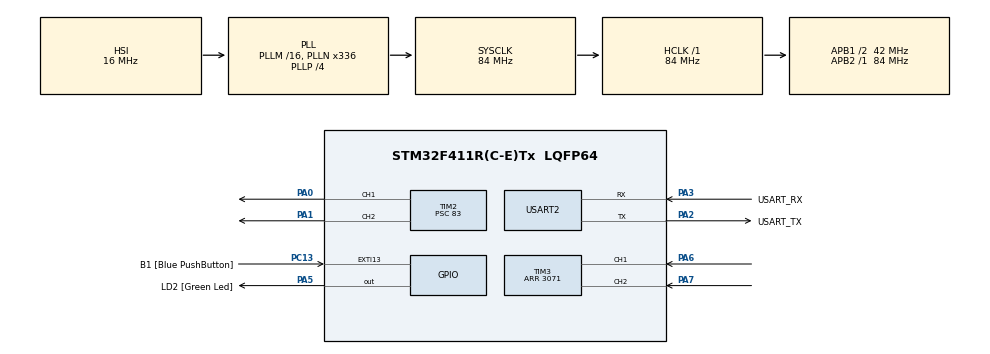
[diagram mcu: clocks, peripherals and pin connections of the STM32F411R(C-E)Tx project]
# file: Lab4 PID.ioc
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ARM.CMSIS.5.6.0.CMSISJjCORE=true
ARM.CMSIS.5.6.0.CMSISJjDSP=Library
Mcu.Family=STM32F4
Mcu.Name=STM32F411R(C-E)Tx
Mcu.Package=LQFP64
Mcu.UserConstants=QEI_Period,30720
NVIC.PriorityGroup=NVIC_PRIORITYGROUP_0
PA0-WKUP.Signal=S_TIM2_CH1_ETR
PA1.Signal=S_TIM2_CH2
PA13.GPIO_Label=TMS
PA13.Mode=Trace_Asynchronous_SW
PA13.Signal=SYS_JTMS-SWDIO
PA14.GPIO_Label=TCK
PA14.Mode=Trace_Asynchronous_SW
PA14.Signal=SYS_JTCK-SWCLK
PA2.GPIO_Label=USART_TX
PA2.Mode=Asynchronous
PA2.Signal=USART2_TX
PA3.GPIO_Label=USART_RX
PA3.Mode=Asynchronous
PA3.Signal=USART2_RX
PA5.GPIO_Label=LD2 [Green Led]
PA5.Signal=GPIO_Output
PA6.Signal=S_TIM3_CH1
PA7.Signal=S_TIM3_CH2
PB3.GPIO_Label=SWO
PB3.Mode=Trace_Asynchronous_SW
PB3.Signal=SYS_JTDO-SWO
PC13-ANTI_TAMP.GPIO_Label=B1 [Blue PushButton]
PC13-ANTI_TAMP.GPIO_ModeDefaultEXTI=GPIO_MODE_IT_FALLING
PC13-ANTI_TAMP.Signal=GPXTI13
PC14-OSC32_IN.Mode=LSE-External-Oscillator
PC14-OSC32_IN.Signal=RCC_OSC32_IN
PC15-OSC32_OUT.Mode=LSE-External-Oscillator
PC15-OSC32_OUT.Signal=RCC_OSC32_OUT
PH0\ -\ OSC_IN.Mode=HSE-External-Clock-Source
PH0\ -\ OSC_IN.Signal=RCC_OSC_IN
PH1\ -\ OSC_OUT.Mode=HSE-External-Clock-Source
PH1\ -\ OSC_OUT.Signal=RCC_OSC_OUT
ProjectManager.HeapSize=0x200
ProjectManager.StackSize=0x400
ProjectManager.TargetToolchain=STM32CubeIDE
RCC.48MHZClocksFreq_Value=84000000
RCC.AHBFreq_Value=84000000
RCC.APB1CLKDivider=RCC_HCLK_DIV2
RCC.APB1Freq_Value=42000000
RCC.APB1TimFreq_Value=84000000
RCC.APB2Freq_Value=84000000
RCC.APB2TimFreq_Value=84000000
RCC.CortexFreq_Value=84000000
RCC.FLatency-AdvancedSettings=FLASH_LATENCY_2
RCC.HCLKFreq_Value=84000000
RCC.HSE_VALUE=8000000
RCC.HSI_VALUE=16000000
RCC.PLLN=336
RCC.PLLP=RCC_PLLP_DIV4
RCC.SYSCLKFreq_VALUE=84000000
RCC.SYSCLKSource=RCC_SYSCLKSOURCE_PLLCLK
RCC.VCOOutputFreq_Value=336000000
SH.S_TIM2_CH1_ETR.0=TIM2_CH1,PWM Generation1 CH1
SH.S_TIM2_CH2.0=TIM2_CH2,PWM Generation2 CH2
SH.S_TIM3_CH1.0=TIM3_CH1,Encoder_Interface
SH.S_TIM3_CH2.0=TIM3_CH2,Encoder_Interface
TIM2.Channel-PWM\ Generation1\ CH1=TIM_CHANNEL_1
TIM2.Channel-PWM\ Generation2\ CH2=TIM_CHANNEL_2
TIM2.Period=999
TIM2.Prescaler=83
TIM2.Pulse-PWM\ Generation1\ CH1=0
TIM3.EncoderMode=TIM_ENCODERMODE_TI12
TIM3.Period=3071
USART2.VirtualMode=VM_ASYNC
VP_ARM.CMSIS_VS_CMSISJjCORE_5.3.0_5.6.0.Mode=CMSISJjCORE
VP_ARM.CMSIS_VS_CMSISJjDSP_1.7.0_5.6.0.Mode=CMSISJjDSP
VP_TIM2_VS_ClockSourceINT.Mode=Internal
board=NUCLEO-F411RE

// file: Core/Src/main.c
/* USER CODE BEGIN Header */
/**
  ******************************************************************************
  * @file           : main.c
  * @brief          : Main program body
  ******************************************************************************
  * @attention
  *
  * Copyright (c) 2023 STMicroelectronics.
  * All rights reserved.
  *
  * This software is licensed under terms that can be found in the LICENSE file
  * in the root directory of this software component.
  * If no LICENSE file comes with this software, it is provided AS-IS.
  *
  ******************************************************************************
  */
/* USER CODE END Header */
#include "main.h"

/* USER CODE BEGIN Includes */
#include "arm_math.h"
/* USER CODE END Includes */

TIM_HandleTypeDef htim2;
TIM_HandleTypeDef htim3;

UART_HandleTypeDef huart2;

/* USER CODE BEGIN PV */
float QEIReadRaw;
float Pulsedegree = 0;
float Pulsesetdegree = 0;
float PrePulsedegree = 0;
float NowPulsedegree = 0;
int x = 0;

arm_pid_instance_f32 PID = {0};
float degree = 0;
float setdegree = 0;
float Setdegree = 0;
float Vfeedback = 0;
float Error = 0;
float PastError = 0;

float duty = 0;
/* USER CODE END PV */

void SystemClock_Config(void);
static void MX_GPIO_Init(void);
static void MX_USART2_UART_Init(void);
static void MX_TIM3_Init(void);
static void MX_TIM2_Init(void);

int main(void)
{

  /* MCU Configuration--------------------------------------------------------*/

  /* Reset of all peripherals, Initializes the Flash interface and the Systick. */
  HAL_Init();

  /* Configure the system clock */
  SystemClock_Config();

  /* Initialize all configured peripherals */
  MX_GPIO_Init();
  MX_USART2_UART_Init();
  MX_TIM3_Init();
  MX_TIM2_Init();
  /* USER CODE BEGIN 2 */
  HAL_TIM_Encoder_Start(&htim3, TIM_CHANNEL_1|TIM_CHANNEL_2);
  HAL_TIM_Base_Start(&htim2);
  HAL_TIM_PWM_Start(&htim2, TIM_CHANNEL_1);
  HAL_TIM_PWM_Start(&htim2, TIM_CHANNEL_2);

  PID.Kp = 1;
  PID.Ki = 0;
  PID.Kd = 1.45;
  arm_pid_init_f32(&PID, 0);

  /* USER CODE END 2 */

  /* Infinite loop */
  while (1)
  {

    /* USER CODE BEGIN 3 */
	  static uint32_t timestamp = 0;
	  if(HAL_GetTick() > timestamp)
	  {
		  timestamp = HAL_GetTick()+10;
		  NowPulsedegree = __HAL_TIM_GET_COUNTER(&htim3);
		  if(((1000 >= NowPulsedegree) && (NowPulsedegree >= 0)) && ((2500 <= PrePulsedegree) && (PrePulsedegree <= 3072)))
		  {
			  x += 1;
		  }
		  else if(((2500 <= NowPulsedegree) && (NowPulsedegree <= 3072)) && ((0 <= PrePulsedegree) && (PrePulsedegree <= 1000)))
		  {
			  x -= 1;
		  }
		  Pulsedegree = (x * 3072) + NowPulsedegree;
		  PrePulsedegree = NowPulsedegree;

		  if(setdegree <= 0)Setdegree = 0;
		  else if(setdegree >= 36000)Setdegree = 36000;
		  else Setdegree = setdegree;

		  Pulsesetdegree = Setdegree*(3072/360.0);
		  degree = Pulsedegree*(360/3072.0);
		  Vfeedback = arm_pid_f32(&PID, Pulsesetdegree - Pulsedegree);

		  Error = Pulsesetdegree - Pulsedegree;
		  if((Error > 0) && (Error <= (3072/360)/2.0))
		  {
			  Vfeedback = 0;
		  }
		  else if((Error < 0) && ((-1)*Error <= (3072/360)/2.0))
		  {
			  Vfeedback = 0;
		  }

		  if(Vfeedback == 0){
			  duty = 0;
			  __HAL_TIM_SET_COMPARE(&htim2, TIM_CHANNEL_1, 0);
			  __HAL_TIM_SET_COMPARE(&htim2, TIM_CHANNEL_2, 0);
		  }
		  else if((150 < Vfeedback) && (Vfeedback < 1000)){
			  duty = Vfeedback;
			  __HAL_TIM_SET_COMPARE(&htim2, TIM_CHANNEL_1, Vfeedback);
			  __HAL_TIM_SET_COMPARE(&htim2, TIM_CHANNEL_2, 0);
		  }
		  else if(Vfeedback >= 1000){
			  duty = 1000;
			  __HAL_TIM_SET_COMPARE(&htim2, TIM_CHANNEL_1, 1000);
			  __HAL_TIM_SET_COMPARE(&htim2, TIM_CHANNEL_2, 0);
		  }
		  else if((0 < Vfeedback) && (Vfeedback <= 150)){
			  duty = 100;
			  __HAL_TIM_SET_COMPARE(&htim2, TIM_CHANNEL_1, 150);
  			  __HAL_TIM_SET_COMPARE(&htim2, TIM_CHANNEL_2, 0);
		  }
		  else if((-1000 < Vfeedback) && (Vfeedback < -150)){
			  duty = Vfeedback;
			  __HAL_TIM_SET_COMPARE(&htim2, TIM_CHANNEL_1, 0);
			  __HAL_TIM_SET_COMPARE(&htim2, TIM_CHANNEL_2, (-1)*(Vfeedback));
		  }
		  else if(Vfeedback <= -1000){
			  duty = 1000;
			  __HAL_TIM_SET_COMPARE(&htim2, TIM_CHANNEL_1, 0);
			  __HAL_TIM_SET_COMPARE(&htim2, TIM_CHANNEL_2, 1000);
		  }
		  else if((0 > Vfeedback) && (Vfeedback >= -150)){
			  duty = 100;
			  __HAL_TIM_SET_COMPARE(&htim2, TIM_CHANNEL_1, 0);
			  __HAL_TIM_SET_COMPARE(&htim2, TIM_CHANNEL_2, 150);
		  }
	  }
  }
  /* USER CODE END 3 */
}

void SystemClock_Config(void)
{
  RCC_OscInitTypeDef RCC_OscInitStruct = {0};
  RCC_ClkInitTypeDef RCC_ClkInitStruct = {0};

  /** Configure the main internal regulator output voltage
  */
  __HAL_RCC_PWR_CLK_ENABLE();
  __HAL_PWR_VOLTAGESCALING_CONFIG(PWR_REGULATOR_VOLTAGE_SCALE1);

  /** Initializes the RCC Oscillators according to the specified parameters
  * in the RCC_OscInitTypeDef structure.
  */
  RCC_OscInitStruct.OscillatorType = RCC_OSCILLATORTYPE_HSI;
  RCC_OscInitStruct.HSIState = RCC_HSI_ON;
  RCC_OscInitStruct.HSICalibrationValue = RCC_HSICALIBRATION_DEFAULT;
  RCC_OscInitStruct.PLL.PLLState = RCC_PLL_ON;
  RCC_OscInitStruct.PLL.PLLSource = RCC_PLLSOURCE_HSI;
  RCC_OscInitStruct.PLL.PLLM = 16;
  RCC_OscInitStruct.PLL.PLLN = 336;
  RCC_OscInitStruct.PLL.PLLP = RCC_PLLP_DIV4;
  RCC_OscInitStruct.PLL.PLLQ = 4;
  if (HAL_RCC_OscConfig(&RCC_OscInitStruct) != HAL_OK)
  {
    Error_Handler();
  }

  /** Initializes the CPU, AHB and APB buses clocks
  */
  RCC_ClkInitStruct.ClockType = RCC_CLOCKTYPE_HCLK|RCC_CLOCKTYPE_SYSCLK
                              |RCC_CLOCKTYPE_PCLK1|RCC_CLOCKTYPE_PCLK2;
  RCC_ClkInitStruct.SYSCLKSource = RCC_SYSCLKSOURCE_PLLCLK;
  RCC_ClkInitStruct.AHBCLKDivider = RCC_SYSCLK_DIV1;
  RCC_ClkInitStruct.APB1CLKDivider = RCC_HCLK_DIV2;
  RCC_ClkInitStruct.APB2CLKDivider = RCC_HCLK_DIV1;

  if (HAL_RCC_ClockConfig(&RCC_ClkInitStruct, FLASH_LATENCY_2) != HAL_OK)
  {
    Error_Handler();
  }
}

static void MX_TIM2_Init(void)
{

  TIM_ClockConfigTypeDef sClockSourceConfig = {0};
  TIM_MasterConfigTypeDef sMasterConfig = {0};
  TIM_OC_InitTypeDef sConfigOC = {0};

  htim2.Instance = TIM2;
  htim2.Init.Prescaler = 83;
  htim2.Init.CounterMode = TIM_COUNTERMODE_UP;
  htim2.Init.Period = 999;
  htim2.Init.ClockDivision = TIM_CLOCKDIVISION_DIV1;
  htim2.Init.AutoReloadPreload = TIM_AUTORELOAD_PRELOAD_DISABLE;
  if (HAL_TIM_Base_Init(&htim2) != HAL_OK)
  {
    Error_Handler();
  }
  sClockSourceConfig.ClockSource = TIM_CLOCKSOURCE_INTERNAL;
  if (HAL_TIM_ConfigClockSource(&htim2, &sClockSourceConfig) != HAL_OK)
  {
    Error_Handler();
  }
  if (HAL_TIM_PWM_Init(&htim2) != HAL_OK)
  {
    Error_Handler();
  }
  sMasterConfig.MasterOutputTrigger = TIM_TRGO_RESET;
  sMasterConfig.MasterSlaveMode = TIM_MASTERSLAVEMODE_DISABLE;
  if (HAL_TIMEx_MasterConfigSynchronization(&htim2, &sMasterConfig) != HAL_OK)
  {
    Error_Handler();
  }
  sConfigOC.OCMode = TIM_OCMODE_PWM1;
  sConfigOC.Pulse = 0;
  sConfigOC.OCPolarity = TIM_OCPOLARITY_HIGH;
  sConfigOC.OCFastMode = TIM_OCFAST_DISABLE;
  if (HAL_TIM_PWM_ConfigChannel(&htim2, &sConfigOC, TIM_CHANNEL_1) != HAL_OK)
  {
    Error_Handler();
  }
  if (HAL_TIM_PWM_ConfigChannel(&htim2, &sConfigOC, TIM_CHANNEL_2) != HAL_OK)
  {
    Error_Handler();
  }
  HAL_TIM_MspPostInit(&htim2);

}

static void MX_TIM3_Init(void)
{

  TIM_Encoder_InitTypeDef sConfig = {0};
  TIM_MasterConfigTypeDef sMasterConfig = {0};

  htim3.Instance = TIM3;
  htim3.Init.Prescaler = 0;
  htim3.Init.CounterMode = TIM_COUNTERMODE_UP;
  htim3.Init.Period = 3071;
  htim3.Init.ClockDivision = TIM_CLOCKDIVISION_DIV1;
  htim3.Init.AutoReloadPreload = TIM_AUTORELOAD_PRELOAD_DISABLE;
  sConfig.EncoderMode = TIM_ENCODERMODE_TI12;
  sConfig.IC1Polarity = TIM_ICPOLARITY_RISING;
  sConfig.IC1Selection = TIM_ICSELECTION_DIRECTTI;
  sConfig.IC1Prescaler = TIM_ICPSC_DIV1;
  sConfig.IC1Filter = 0;
  sConfig.IC2Polarity = TIM_ICPOLARITY_RISING;
  sConfig.IC2Selection = TIM_ICSELECTION_DIRECTTI;
  sConfig.IC2Prescaler = TIM_ICPSC_DIV1;
  sConfig.IC2Filter = 0;
  if (HAL_TIM_Encoder_Init(&htim3, &sConfig) != HAL_OK)
  {
    Error_Handler();
  }
  sMasterConfig.MasterOutputTrigger = TIM_TRGO_RESET;
  sMasterConfig.MasterSlaveMode = TIM_MASTERSLAVEMODE_DISABLE;
  if (HAL_TIMEx_MasterConfigSynchronization(&htim3, &sMasterConfig) != HAL_OK)
  {
    Error_Handler();
  }

}

static void MX_USART2_UART_Init(void)
{

  huart2.Instance = USART2;
  huart2.Init.BaudRate = 115200;
  huart2.Init.WordLength = UART_WORDLENGTH_8B;
  huart2.Init.StopBits = UART_STOPBITS_1;
  huart2.Init.Parity = UART_PARITY_NONE;
  huart2.Init.Mode = UART_MODE_TX_RX;
  huart2.Init.HwFlowCtl = UART_HWCONTROL_NONE;
  huart2.Init.OverSampling = UART_OVERSAMPLING_16;
  if (HAL_UART_Init(&huart2) != HAL_OK)
  {
    Error_Handler();
  }

}

static void MX_GPIO_Init(void)
{
  GPIO_InitTypeDef GPIO_InitStruct = {0};

  /* GPIO Ports Clock Enable */
  __HAL_RCC_GPIOC_CLK_ENABLE();
  __HAL_RCC_GPIOH_CLK_ENABLE();
  __HAL_RCC_GPIOA_CLK_ENABLE();
  __HAL_RCC_GPIOB_CLK_ENABLE();

  /*Configure GPIO pin Output Level */
  HAL_GPIO_WritePin(LD2_GPIO_Port, LD2_Pin, GPIO_PIN_RESET);

  /*Configure GPIO pin : B1_Pin */
  GPIO_InitStruct.Pin = B1_Pin;
  GPIO_InitStruct.Mode = GPIO_MODE_IT_FALLING;
  GPIO_InitStruct.Pull = GPIO_NOPULL;
  HAL_GPIO_Init(B1_GPIO_Port, &GPIO_InitStruct);

  /*Configure GPIO pin : LD2_Pin */
  GPIO_InitStruct.Pin = LD2_Pin;
  GPIO_InitStruct.Mode = GPIO_MODE_OUTPUT_PP;
  GPIO_InitStruct.Pull = GPIO_NOPULL;
  GPIO_InitStruct.Speed = GPIO_SPEED_FREQ_LOW;
  HAL_GPIO_Init(LD2_GPIO_Port, &GPIO_InitStruct);

}

void Error_Handler(void)
{
  __disable_irq();
  while (1)
  {
  }
}
